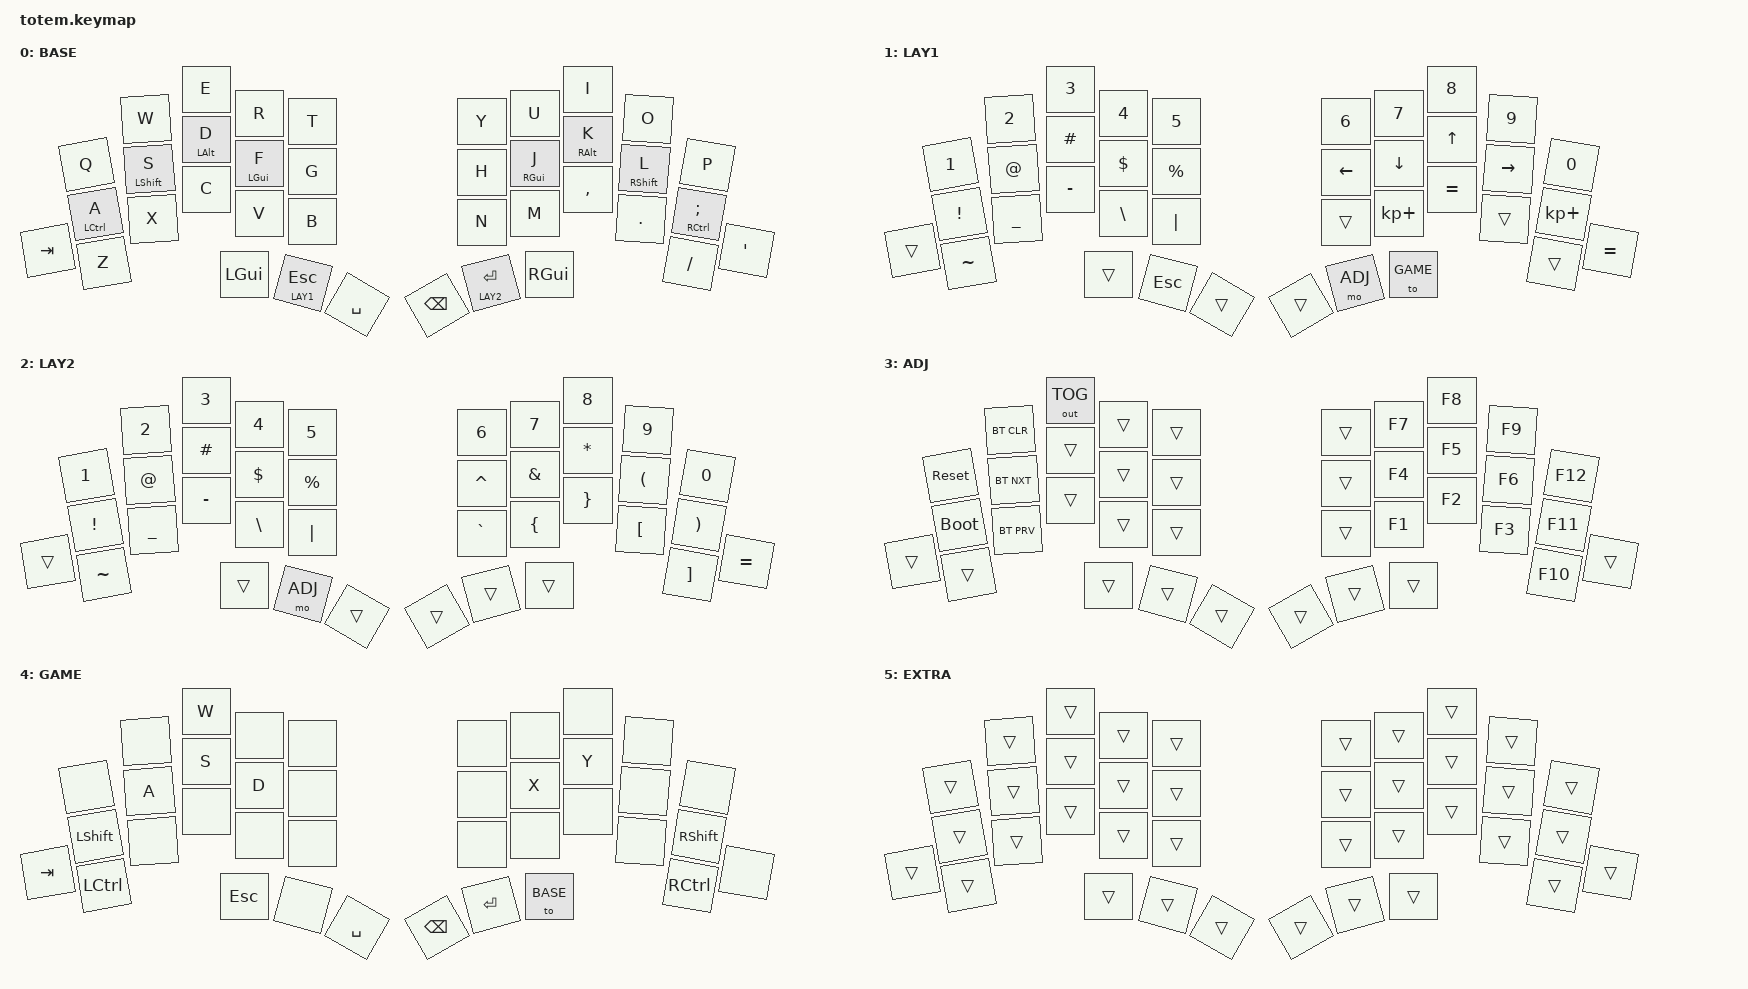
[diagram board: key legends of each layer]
#include <behaviors.dtsi>
#include <dt-bindings/zmk/bt.h>
#include <dt-bindings/zmk/keys.h>
#include <dt-bindings/zmk/outputs.h>

#define BASE  0
#define LAY1  1
#define LAY2  2
#define ADJ   3
#define GAME  4

#define TAP_TIMEOUT 170
#define QUICK_TAP_MS 100

#define KEYS_L 0 1 2 3 4 10 11 12 13 14 20 21 22 23 24 25 32 33 34
#define KEYS_R 5 6 7 8 9 15 16 17 18 19 26 27 28 29 30 31 35 36 37

&mt {
  flavor = "tap-preferred";
  global-quick-tap;
  quick-tap-ms = <QUICK_TAP_MS>;
  tapping-term-ms = <TAP_TIMEOUT>;
};

/ {
    behaviors {
      hm: homerow_mods {
        compatible = "zmk,behavior-hold-tap";
        label = "homerow mods";
        #binding-cells = <2>;
        flavor = "balanced";
        tapping-term-ms = <TAP_TIMEOUT>;
        quick-tap-ms = <QUICK_TAP_MS>;
        require-prior-idle-ms = <75>;
        bindings = <&kp>, <&kp>;
      };
      hml: homerow_mods_left {
        compatible = "zmk,behavior-hold-tap";
        label = "homerow mods left";
        #binding-cells = <2>;
        flavor = "balanced";
        tapping-term-ms = <TAP_TIMEOUT>;
        quick-tap-ms = <QUICK_TAP_MS>;
        require-prior-idle-ms = <75>;
        bindings = <&kp>, <&kp>;
        hold-trigger-key-positions = <KEYS_R>;
        hold-trigger-on-release;
      };
      hmr: homerow_mods_right {
        compatible = "zmk,behavior-hold-tap";
        label = "homerow mods right";
        #binding-cells = <2>;
        flavor = "balanced";
        tapping-term-ms = <TAP_TIMEOUT>;
        quick-tap-ms = <QUICK_TAP_MS>;
        require-prior-idle-ms = <75>;
        bindings = <&kp>, <&kp>;
        hold-trigger-key-positions = <KEYS_L>;
        hold-trigger-on-release;
      };
    };
    combos {
      compatible = "zmk,combos";
      combo_caps_word {
        timeout-ms = <50>;
        key-positions = <20 31>; // TAB+APOS
        bindings = <&caps_word>;
      };
      combo_esc {
        timeout-ms = <50>;
        key-positions = <0 1>; // Q+W
        bindings = <&kp ESC>;
      };
    };

//             ┏━━━━━━━━━━━┳━━━━━━━━━━━┳━━━━━━━━━━━┳━━━━━━━━━━━┳━━━━━━━━━━━┓   ┏━━━━━━━━━━━┳━━━━━━━━━━━┳━━━━━━━━━━━┳━━━━━━━━━━━┳━━━━━━━━━━━┓
//             ┃     Q     ┃     W     ┃     E     ┃     R     ┃     T     ┃   ┃     Y     ┃     U     ┃     I     ┃     P     ┃     O     ┃
//             ┣━━━━━━━━━━━╋━━━━━━━━━━━╋━━━━━━━━━━━╋━━━━━━━━━━━╋━━━━━━━━━━━┫   ┣━━━━━━━━━━━╋━━━━━━━━━━━╋━━━━━━━━━━━╋━━━━━━━━━━━╋━━━━━━━━━━━┫
//             ┃     A     ┃     S     ┃     D     ┃     F     ┃     G     ┃   ┃     H     ┃     J     ┃     K     ┃     L     ┃     ;     ┃
// ┏━━━━━━━━━━━╋━━━━━━━━━━━╋━━━━━━━━━━━╋━━━━━━━━━━━╋━━━━━━━━━━━╋━━━━━━━━━━━┫   ┣━━━━━━━━━━━╋━━━━━━━━━━━╋━━━━━━━━━━━╋━━━━━━━━━━━╋━━━━━━━━━━━╋━━━━━━━━━━━┓
// ┃     TAB   ┃     Z     ┃     X     ┃     C     ┃     V     ┃     B     ┃   ┃     M     ┃     N     ┃     ,     ┃     .     ┃     /     ┃     '     ┃
// ┗━━━━━━━━━━━┻━━━━━━━━━━━┻━━━━━━━━━━━╋━━━━━━━━━━━╋━━━━━━━━━━━╋━━━━━━━━━━━┫   ┣━━━━━━━━━━━╋━━━━━━━━━━━╋━━━━━━━━━━━╋━━━━━━━━━━━┻━━━━━━━━━━━┻━━━━━━━━━━━┛
//                                     ┃           ┃    ESC    ┃    SPC    ┃   ┃   BSPC    ┃   ENTER   ┃           ┃
//                                     ┗━━━━━━━━━━━┻━━━━━━━━━━━┻━━━━━━━━━━━┛   ┗━━━━━━━━━━━┻━━━━━━━━━━━┻━━━━━━━━━━━┛

    keymap {
      compatible = "zmk,keymap";
      base_layer {
        label= "BASE";
        bindings = <
// ╷           ╷           ╷           ╷           ╷           ╷           ╷   ╷           ╷           ╷           ╷           ╷           ╷           ╷
               &kp Q       &kp W       &kp E       &kp R       &kp T           &kp Y       &kp U       &kp I       &kp O       &kp P
               &hml LCTRL A &hml LSHFT S &hml LALT D &hml LGUI F &kp G         &kp H       &hmr RGUI J &hmr RALT K &hmr RSHFT L &hmr RCTRL SEMI
    &kp TAB    &kp Z       &kp X       &kp C       &kp V        &kp B          &kp N       &kp M       &kp COMMA   &kp DOT     &kp FSLH    &kp APOS
                                       &kp LGUI    &lt LAY1 ESC &kp SPACE      &kp BSPC    &lt LAY2 ENTER &kp RGUI
        >;
      };

      nav_layer {
        label= "LAY1";
        bindings = <
// ╷           ╷           ╷           ╷           ╷           ╷           ╷   ╷           ╷           ╷           ╷           ╷           ╷           ╷
                &kp N1     &kp N2     &kp N3      &kp N4     &kp N5            &kp N6      &kp N7      &kp N8      &kp N9      &kp N0
                &kp EXCL   &kp AT     &kp HASH    &kp DLLR   &kp PRCNT         &kp LEFT    &kp DOWN    &kp UP      &kp RIGHT   &kp KP_PLUS
    &trans      &kp TILDE  &kp UNDER  &kp MINUS   &kp BSLH   &kp PIPE          &trans      &kp KP_PLUS &kp EQUAL   &trans      &trans      &kp EQUAL
                                      &trans      &kp ESC    &trans            &trans      &mo ADJ     &to GAME
        >;
      };

      sim_layer {
        label= "LAY2"; 
        bindings = <
// ╷           ╷           ╷           ╷           ╷           ╷           ╷   ╷           ╷           ╷           ╷           ╷           ╷           ╷
                &kp N1     &kp N2     &kp N3      &kp N4     &kp N5            &kp N6      &kp N7      &kp N8      &kp N9      &kp N0
                &kp EXCL   &kp AT     &kp HASH    &kp DLLR   &kp PRCNT         &kp CARET   &kp AMPS    &kp STAR    &kp LPAR    &kp RPAR
    &trans      &kp TILDE  &kp UNDER  &kp MINUS   &kp BSLH   &kp PIPE          &kp GRAVE   &kp LBRC    &kp RBRC    &kp LBKT    &kp RBKT    &kp EQUAL
                                      &trans      &mo ADJ    &trans            &trans      &trans      &trans
        >;
      };

      adjust_layer {
        label= "ADJ";
        bindings = <
// ╷           ╷           ╷           ╷           ╷           ╷           ╷   ╷           ╷           ╷           ╷           ╷           ╷           ╷
                &sys_reset  &bt BT_CLR &out OUT_TOG &trans      &trans         &trans      &kp F7      &kp F8      &kp F9      &kp F12
                &bootloader &bt BT_NXT &trans       &trans      &trans         &trans      &kp F4      &kp F5      &kp F6      &kp F11
   &trans      &trans       &bt BT_PRV &trans       &trans      &trans         &trans      &kp F1      &kp F2      &kp F3      &kp F10     &trans
                                       &trans       &trans      &trans         &trans      &trans      &trans
        >;
      };

      game_layer {
        label= "GAME";
        bindings = <
// ╷           ╷           ╷           ╷           ╷           ╷           ╷   ╷           ╷           ╷           ╷           ╷           ╷           ╷
                &none      &none       &kp W       &none       &none           &none       &none       &none       &none       &none
                &kp LSHFT  &kp A       &kp S       &kp D       &none           &none       &kp X       &kp Y       &none       &kp RSHFT
    &kp TAB     &kp LCTRL  &none       &none       &none        &none          &none       &none       &none       &none       &kp RCTRL   &none
                                       &kp ESC     &none       &kp SPACE       &kp BSPC    &kp ENTER   &to BASE
        >;
      };


      extra_layer {
        label= "EXTRA";
        bindings = <
// ╷           ╷           ╷           ╷           ╷           ╷           ╷   ╷           ╷           ╷           ╷           ╷           ╷           ╷
               &trans      &trans      &trans      &trans      &trans          &trans      &trans      &trans      &trans      &trans
               &trans      &trans      &trans      &trans      &trans          &trans      &trans      &trans      &trans      &trans
   &trans      &trans      &trans      &trans      &trans      &trans          &trans      &trans      &trans      &trans      &trans      &trans
                                       &trans      &trans      &trans          &trans      &trans      &trans
        >;
      };
    };
};
